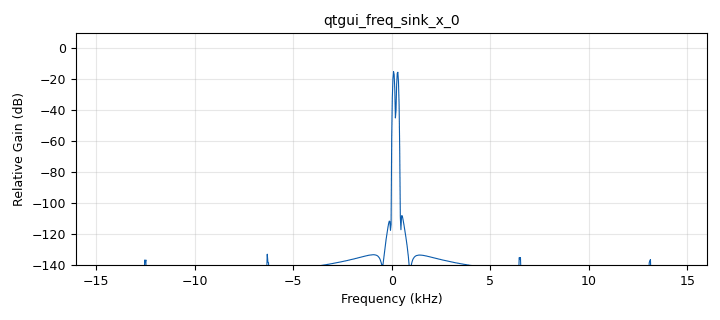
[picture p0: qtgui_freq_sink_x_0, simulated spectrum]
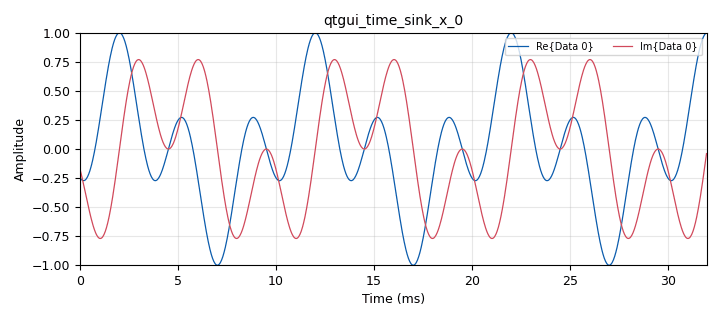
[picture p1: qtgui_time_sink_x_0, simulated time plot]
<?xml version='1.0' encoding='utf-8'?>
<?grc format='1' created='3.7.11'?>
<flow_graph>
<block>
<key>options</key>
<param><key>id</key><value>fourier_2</value></param>
<param><key>generate_options</key><value>qt_gui</value></param>
</block>
<block>
<key>variable_qtgui_range</key>
<param><key>id</key><value>freq1</value></param>
<param><key>value</key><value>100</value></param>
<param><key>orient</key><value>Qt.Horizontal</value></param>
<param><key>start</key><value>0</value></param>
<param><key>step</key><value>10</value></param>
<param><key>stop</key><value>10e3</value></param>
</block>
<block>
<key>variable_qtgui_range</key>
<param><key>id</key><value>freq2</value></param>
<param><key>value</key><value>300</value></param>
<param><key>orient</key><value>Qt.Horizontal</value></param>
<param><key>start</key><value>0</value></param>
<param><key>step</key><value>10</value></param>
<param><key>stop</key><value>10e3</value></param>
</block>
<block>
<key>variable</key>
<param><key>id</key><value>samp_rate</value></param>
<param><key>value</key><value>32000</value></param>
</block>
<block>
<key>analog_sig_source_x</key>
<param><key>id</key><value>analog_sig_source_x_0</value></param>
<param><key>amp</key><value>500e-3</value></param>
<param><key>freq</key><value>freq1</value></param>
<param><key>offset</key><value>0</value></param>
<param><key>type</key><value>complex</value></param>
<param><key>samp_rate</key><value>samp_rate</value></param>
<param><key>waveform</key><value>analog.GR_COS_WAVE</value></param>
</block>
<block>
<key>analog_sig_source_x</key>
<param><key>id</key><value>analog_sig_source_x_1</value></param>
<param><key>amp</key><value>500e-3</value></param>
<param><key>freq</key><value>freq2</value></param>
<param><key>offset</key><value>0</value></param>
<param><key>type</key><value>complex</value></param>
<param><key>samp_rate</key><value>samp_rate</value></param>
<param><key>waveform</key><value>analog.GR_COS_WAVE</value></param>
</block>
<block>
<key>blocks_add_xx</key>
<param><key>id</key><value>blocks_add_xx_0</value></param>
<param><key>type</key><value>complex</value></param>
</block>
<block>
<key>blocks_throttle</key>
<param><key>id</key><value>blocks_throttle_0</value></param>
<param><key>samples_per_second</key><value>samp_rate</value></param>
<param><key>type</key><value>complex</value></param>
</block>
<block>
<key>note</key>
<param><key>id</key><value>note_0</value></param>
<param><key>note</key><value>change complex to float to remove imaginary part</value></param>
</block>
<block>
<key>qtgui_freq_sink_x</key>
<param><key>id</key><value>qtgui_freq_sink_x_0</value></param>
<param><key>bw</key><value>samp_rate</value></param>
<param><key>fc</key><value>0</value></param>
<param><key>fftsize</key><value>1024</value></param>
<param><key>color1</key><value>"magenta"</value></param>
<param><key>showports</key><value>True</value></param>
<param><key>type</key><value>complex</value></param>
<param><key>wintype</key><value>firdes.WIN_BLACKMAN_hARRIS</value></param>
</block>
<block>
<key>qtgui_time_sink_x</key>
<param><key>id</key><value>qtgui_time_sink_x_0</value></param>
<param><key>color1</key><value>"blue"</value></param>
<param><key>label1</key><value></value></param>
<param><key>color2</key><value>"red"</value></param>
<param><key>label2</key><value></value></param>
<param><key>size</key><value>1024</value></param>
<param><key>srate</key><value>samp_rate</value></param>
<param><key>type</key><value>complex</value></param>
</block>
<connection><source_block_id>analog_sig_source_x_0</source_block_id><sink_block_id>blocks_add_xx_0</sink_block_id><source_key>0</source_key><sink_key>0</sink_key></connection>
<connection><source_block_id>analog_sig_source_x_1</source_block_id><sink_block_id>blocks_add_xx_0</sink_block_id><source_key>0</source_key><sink_key>1</sink_key></connection>
<connection><source_block_id>blocks_add_xx_0</source_block_id><sink_block_id>blocks_throttle_0</sink_block_id><source_key>0</source_key><sink_key>0</sink_key></connection>
<connection><source_block_id>blocks_throttle_0</source_block_id><sink_block_id>qtgui_freq_sink_x_0</sink_block_id><source_key>0</source_key><sink_key>0</sink_key></connection>
<connection><source_block_id>blocks_throttle_0</source_block_id><sink_block_id>qtgui_time_sink_x_0</sink_block_id><source_key>0</source_key><sink_key>0</sink_key></connection>
</flow_graph>
